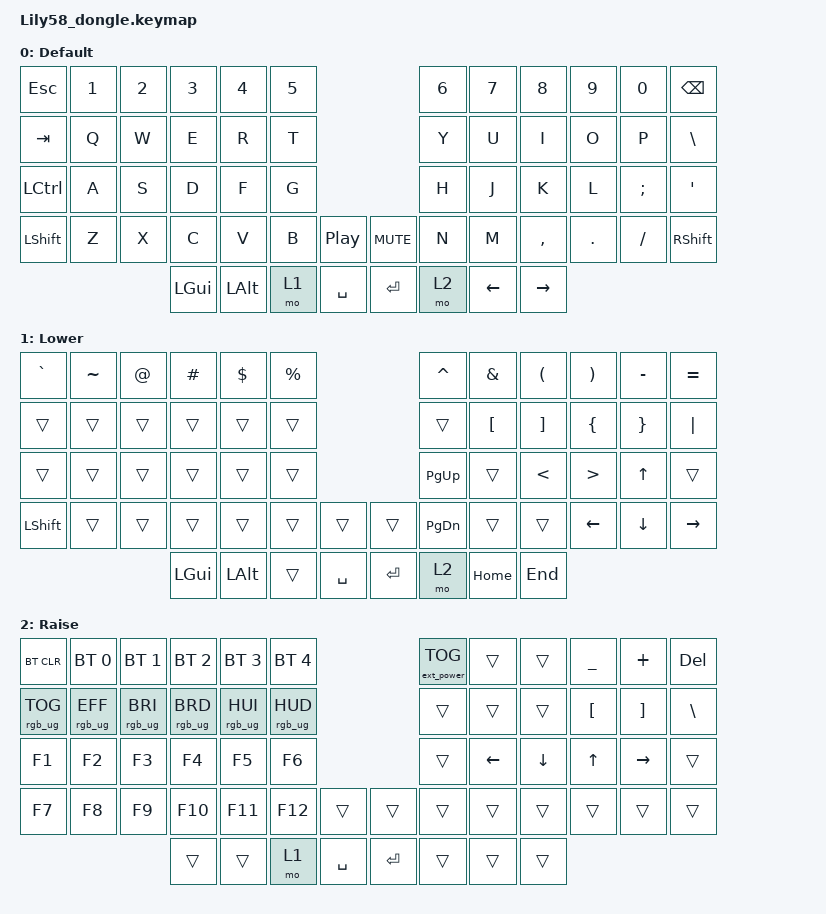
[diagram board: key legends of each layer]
/*
 * Copyright (c) 2020 The ZMK Contributors
 *
 * SPDX-License-Identifier: MIT
 */

#include <behaviors.dtsi>
#include <dt-bindings/zmk/keys.h>
#include <dt-bindings/zmk/bt.h>
#include <dt-bindings/zmk/rgb.h>
#include <dt-bindings/zmk/ext_power.h>

/ {
    keymap {
        compatible = "zmk,keymap";

        default_layer {
            display-name = "Default";
            bindings = <
&kp ESC   &kp N1 &kp N2 &kp N3   &kp N4   &kp N5                       &kp N6 &kp N7   &kp N8    &kp N9  &kp N0   &kp BSPC
&kp TAB   &kp Q  &kp W  &kp E    &kp R    &kp T                        &kp Y  &kp U    &kp I     &kp O   &kp P    &kp BSLH
&kp LCTRL &kp A  &kp S  &kp D    &kp F    &kp G                        &kp H  &kp J    &kp K     &kp L   &kp SEMI &kp SQT
&kp LSHFT &kp Z  &kp X  &kp C    &kp V    &kp B  &kp C_PP   &kp C_MUTE &kp N  &kp M    &kp COMMA &kp DOT &kp FSLH &kp RSHFT
                         &kp LGUI &kp LALT &mo 1  &kp SPACE  &kp RET   &mo 2  &kp LEFT &kp RIGHT
            >;
        };

        lower_layer {
            display-name = "Lower";
            bindings = <
&kp GRAVE &kp TILDE &kp AT &kp HASH   &kp DOLLAR &kp PRCNT                    &kp CARET &kp AMPS &kp LPAR &kp RPAR &kp MINUS &kp EQUAL
&trans    &trans    &trans &trans      &trans     &trans                       &trans    &kp LBKT &kp RBKT &kp LBRC &kp RBRC  &kp PIPE
&trans    &trans    &trans &trans      &trans     &trans                       &kp PG_UP &trans   &kp LT   &kp GT   &kp UP    &trans
&kp LSHFT &trans    &trans &trans      &trans     &trans    &trans   &trans    &kp PG_DN &trans   &trans   &kp LEFT &kp DOWN  &kp RIGHT
                           &kp LGUI   &kp LALT   &trans    &kp SPACE &kp RET  &mo 2     &kp HOME &kp END
            >;
        };

        raise_layer {
            display-name = "Raise";
            bindings = <
&bt BT_CLR    &bt BT_SEL 0    &bt BT_SEL 1    &bt BT_SEL 2    &bt BT_SEL 3 &bt BT_SEL 4                    &ext_power EP_TOG &trans &trans &kp UNDER &kp PLUS &kp DEL
&rgb_ug RGB_TOG &rgb_ug RGB_EFF &rgb_ug RGB_BRI &rgb_ug RGB_BRD &rgb_ug RGB_HUI &rgb_ug RGB_HUD             &trans &trans   &trans   &kp LBKT  &kp RBKT &kp BSLH
&kp F1        &kp F2          &kp F3          &kp F4          &kp F5       &kp F6                           &trans &kp LEFT &kp DOWN &kp UP    &kp RIGHT &trans
&kp F7        &kp F8          &kp F9          &kp F10         &kp F11      &kp F12      &trans   &trans      &trans &trans   &trans   &trans    &trans    &trans
                                               &trans          &trans       &mo 1        &kp SPACE &kp RET   &trans &trans   &trans
            >;
        };
    };
};
